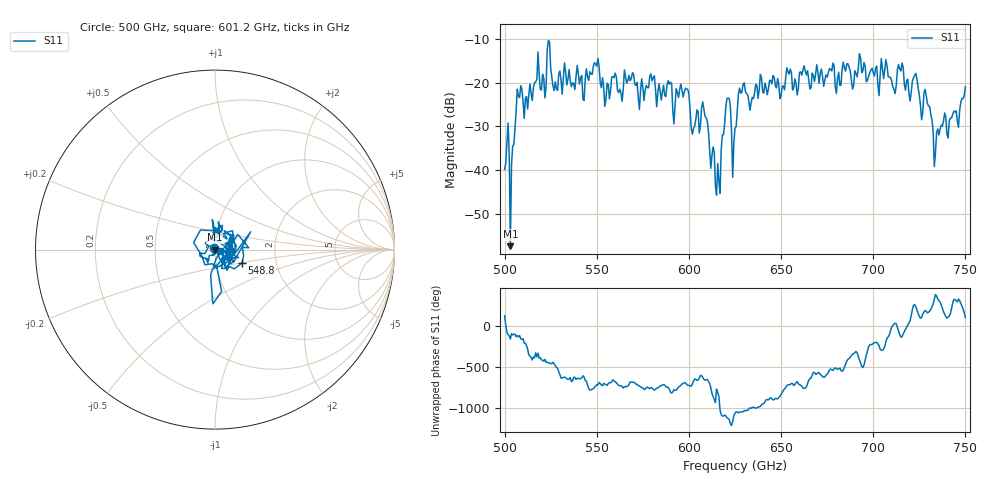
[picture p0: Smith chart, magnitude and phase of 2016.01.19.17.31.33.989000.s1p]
!Created with skrf (http://scikit-rf.org).
# GHz S RI R 50.0
!freq ReS11 ImS11
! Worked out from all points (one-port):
!   401 points, 500 GHz to 750 GHz, reference 50 ohm
!   lowest |S11| = -57.3 dB at 503.1 GHz (marker M1), VSWR 1.00, Z = 49.9 - j0.0392 ohm
!   |S11| at or under -10 dB: start of sweep to end of sweep
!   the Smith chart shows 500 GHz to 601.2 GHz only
!   S11 on the Smith chart (normalised r, x): 500 GHz: 0.99, +0.02; 548.8 GHz: 1.34, -0.21; 601.2 GHz: 1.06, -0.02
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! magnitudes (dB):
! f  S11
! 500 GHz  -39.8
! 503.1 GHz  -57.3
! 504.4 GHz  -34.5
! 505.6 GHz  -30.6
! 508.1 GHz  -23.4
! 521.2 GHz  -19.1
! 524.4 GHz  -10.8
! 527.5 GHz  -19.9
! 531.2 GHz  -22.7
! 548.8 GHz  -15.5
! 562.5 GHz  -21.6
! 568.8 GHz  -19.1
! 593.8 GHz  -22.2
! 598.8 GHz  -21.5
! 601.2 GHz  -30.5
! 608.8 GHz  -27.7
! 615.6 GHz  -38.5
! 621.2 GHz  -23.5
! 625 GHz  -30.4
! 628.8 GHz  -22.2
! 656.2 GHz  -21.7
! 687.5 GHz  -17.2
! 711.2 GHz  -21.6
! 715 GHz  -17.3
! 718.8 GHz  -19.3
! 728.8 GHz  -22.9
! 734.4 GHz  -31.5
! 750 GHz  -20.9
